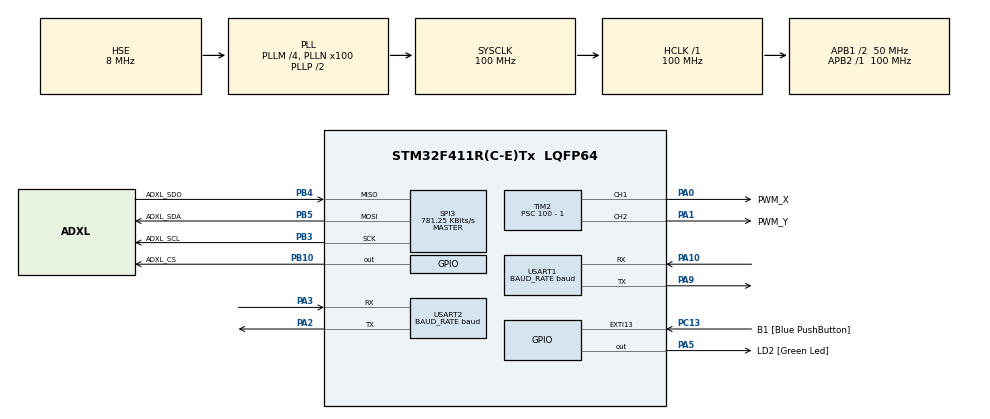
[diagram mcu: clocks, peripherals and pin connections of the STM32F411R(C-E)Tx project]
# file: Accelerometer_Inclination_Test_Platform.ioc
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Mcu.Family=STM32F4
Mcu.Name=STM32F411R(C-E)Tx
Mcu.Package=LQFP64
Mcu.UserConstants=BAUD_RATE,38400
NVIC.PriorityGroup=NVIC_PRIORITYGROUP_0
NVIC.USART1_IRQn=true\:0\:0\:false\:false\:true\:true\:true\:true
NVIC.USART2_IRQn=true\:0\:0\:false\:false\:true\:true\:true\:true
PA0-WKUP.GPIO_Label=PWM_X
PA0-WKUP.Signal=S_TIM2_CH1_ETR
PA1.GPIO_Label=PWM_Y
PA1.Signal=S_TIM2_CH2
PA10.Mode=Asynchronous
PA10.Signal=USART1_RX
PA13.GPIO_Label=TMS
PA13.Mode=Serial_Wire
PA13.Signal=SYS_JTMS-SWDIO
PA14.GPIO_Label=TCK
PA14.Mode=Serial_Wire
PA14.Signal=SYS_JTCK-SWCLK
PA2.Mode=Asynchronous
PA2.Signal=USART2_TX
PA3.Mode=Asynchronous
PA3.Signal=USART2_RX
PA5.GPIO_Label=LD2 [Green Led]
PA5.Signal=GPIO_Output
PA9.Mode=Asynchronous
PA9.Signal=USART1_TX
PB10.GPIO_Label=ADXL_CS
PB10.Signal=GPIO_Output
PB3.GPIO_Label=ADXL_SCL
PB3.Mode=Full_Duplex_Master
PB3.Signal=SPI3_SCK
PB4.GPIO_Label=ADXL_SDO
PB4.Mode=Full_Duplex_Master
PB4.Signal=SPI3_MISO
PB5.GPIO_Label=ADXL_SDA
PB5.Mode=Full_Duplex_Master
PB5.Signal=SPI3_MOSI
PC13-ANTI_TAMP.GPIO_Label=B1 [Blue PushButton]
PC13-ANTI_TAMP.GPIO_ModeDefaultEXTI=GPIO_MODE_IT_FALLING
PC13-ANTI_TAMP.Signal=GPXTI13
PC14-OSC32_IN.Mode=LSE-External-Oscillator
PC14-OSC32_IN.Signal=RCC_OSC32_IN
PC15-OSC32_OUT.Mode=LSE-External-Oscillator
PC15-OSC32_OUT.Signal=RCC_OSC32_OUT
PH0\ -\ OSC_IN.Mode=HSE-External-Clock-Source
PH0\ -\ OSC_IN.Signal=RCC_OSC_IN
PH1\ -\ OSC_OUT.Mode=HSE-External-Clock-Source
PH1\ -\ OSC_OUT.Signal=RCC_OSC_OUT
ProjectManager.HeapSize=0x200
ProjectManager.StackSize=0x400
ProjectManager.TargetToolchain=STM32CubeIDE
RCC.48MHZClocksFreq_Value=50000000
RCC.AHBFreq_Value=100000000
RCC.APB1CLKDivider=RCC_HCLK_DIV2
RCC.APB1Freq_Value=50000000
RCC.APB1TimFreq_Value=100000000
RCC.APB2Freq_Value=100000000
RCC.APB2TimFreq_Value=100000000
RCC.CortexFreq_Value=100000000
RCC.FLatency-AdvancedSettings=FLASH_LATENCY_3
RCC.HCLKFreq_Value=100000000
RCC.HSE_VALUE=8000000
RCC.HSI_VALUE=16000000
RCC.PLLM=4
RCC.PLLN=100
RCC.PLLSourceVirtual=RCC_PLLSOURCE_HSE
RCC.SYSCLKFreq_VALUE=100000000
RCC.SYSCLKSource=RCC_SYSCLKSOURCE_PLLCLK
RCC.VCOOutputFreq_Value=200000000
SH.S_TIM2_CH1_ETR.0=TIM2_CH1,PWM Generation1 CH1
SH.S_TIM2_CH2.0=TIM2_CH2,PWM Generation2 CH2
SPI3.BaudRatePrescaler=SPI_BAUDRATEPRESCALER_64
SPI3.CLKPhase=SPI_PHASE_2EDGE
SPI3.CLKPolarity=SPI_POLARITY_HIGH
SPI3.CalculateBaudRate=781.25 KBits/s
SPI3.Direction=SPI_DIRECTION_2LINES
SPI3.Mode=SPI_MODE_MASTER
SPI3.VirtualType=VM_MASTER
TIM2.AutoReloadPreload=TIM_AUTORELOAD_PRELOAD_ENABLE
TIM2.Channel-PWM\ Generation1\ CH1=TIM_CHANNEL_1
TIM2.Channel-PWM\ Generation2\ CH2=TIM_CHANNEL_2
TIM2.Period=20000 - 1
TIM2.Prescaler=100 - 1
USART1.BaudRate=BAUD_RATE
USART1.VirtualMode=VM_ASYNC
USART2.BaudRate=BAUD_RATE
USART2.VirtualMode=VM_ASYNC
VP_TIM2_VS_ClockSourceINT.Mode=Internal
board=NUCLEO-F411RE

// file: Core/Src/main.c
/* USER CODE BEGIN Header */
/**
 ******************************************************************************
 * @file           : main.c
 * @brief          : Main program body
 ******************************************************************************
 * @attention
 *
 * Copyright (c) 2024 STMicroelectronics.
 * All rights reserved.
 *
 * This software is licensed under terms that can be found in the LICENSE file
 * in the root directory of this software component.
 * If no LICENSE file comes with this software, it is provided AS-IS.
 *
 ******************************************************************************
 */
/* USER CODE END Header */
#include "main.h"

/* USER CODE BEGIN Includes */

//* Private Includes
#include "main.h"

//* Standard Includes
#include "stm32f4xx_hal.h"
#include <stdio.h>
#include <stdlib.h>
#include <stdint.h>
#include <ctype.h>
#include <string.h>
#include <math.h>

/* USER CODE END Includes */

/* USER CODE BEGIN PTD */

typedef uint16_t ccr_t; // Typedef set to fit CCR register value >= 0 and <= 20000

typedef enum {
  STARTUP_STATE,
  HOME_STATE,
  IDLE_STATE,
  RUN_SETPOINT_STATE,
  RUN_PROFILE_STATE,
  RUN_TEST_STATE,
} system_state_t;

typedef struct {
  status_code_t status;
  input_t code;
  input_t args[INSTRUCTION_MAX_ARGS];
  input_t arg_count;
} instruction_t;

typedef struct setpoint {
  input_t x; // X position in degrees
  input_t y; // Y position in degrees
  input_t speed; // Multiplier for the PID controller’s Proportional constant
} setpoint_t;

// Run state handler struct
typedef struct active_setpoint {
  ccr_t x;
  ccr_t y;
  input_t speed;
  int error;
  input_t profile;
  input_t index;
} active_setpoint_t;

/* USER CODE END PTD */

SPI_HandleTypeDef hspi3;

TIM_HandleTypeDef htim2;

UART_HandleTypeDef huart1;
UART_HandleTypeDef huart2;

/* USER CODE BEGIN PV */

//* Accelerometer Read

uint8_t adxl_rx_buf[ADXL_DATA_SIZE]; // The 6 bytes of ADXL data are stored here
float x_g, y_g, z_g;
float adxl_x_ang, adxl_y_ang, z_ang;

//* UART

char uart_rx_char[2]; // Stores Rx char and string terminator
char uart_circ_buf[UART_RX_BUF_LEN]; // Circular Rx Buffer
uint8_t instruction_flag = 0;
status_code_t uart_it_status = STATUS_OK;

//* Run State

active_setpoint_t active_setpoint = {
  .index = 0,
};

//* Startup State

system_state_t next_state_e = STARTUP_STATE;

/* USER CODE END PV */

void SystemClock_Config(void);
static void MX_GPIO_Init(void);
static void MX_USART2_UART_Init(void);
static void MX_SPI3_Init(void);
static void MX_USART1_UART_Init(void);
static void MX_TIM2_Init(void);
/* USER CODE BEGIN PFP */

//* Private Function Prototypes

int strtoint(char* str);
instruction_t parse_instruction(char* parse_buf);
void uart_echo(char* tx_buf, const char* rx_buf, const int status);
status_code_t clear_flash(void);
void adxl_tx(uint8_t address, uint8_t value);
void adxl_rx(uint8_t address);
void adxl_init(void);
void adxl_read(void);

//* Private Event Handler Prototypes

void idle_state_handler(void);
system_state_t startup_state_handler(void);
system_state_t home_state_handler(void);
system_state_t run_setpoint_state_handler(void);
system_state_t run_profile_state_handler(void);
system_state_t run_test_state_handler(void);

/* USER CODE END PFP */

/* USER CODE BEGIN 0 */

//* Interrupt Callbacks

void HAL_UART_RxCpltCallback(UART_HandleTypeDef *huart) {
  static int i = 0;
  if (instruction_flag == 0) {
    uart_circ_buf[i] = uart_rx_char[0];
    if (uart_circ_buf[i] == '}') {
      instruction_flag = 1;
      i = 0;
    } else if (++i >= (sizeof(uart_circ_buf) - 1)) { // - 1 for NULL terminator
      i = 0;
      uart_it_status = STATUS_ERR_UART_OF; // Buffer Overflow
    }
  }

  idle_state_handler();

  // UART Interrupt Rx Reactivate
  HAL_UART_Receive_IT(huart, (uint8_t *)uart_rx_char, 1U); // Receive single char
}

//* Internal Functions
ccr_t degtoccr(input_t angle) {
  return (ccr_t)(PULSE_WIDTH_NEG_90 + (((int)angle - ANGLE_MIN) * (PULSE_WIDTH_POS_90 - PULSE_WIDTH_NEG_90) / ANGLE_RANGE));
}

int strtoint(char* str) {
  int num = 0;
  if (str != NULL) {
    while (*str != '\0') { // Terminates at NULL character
      if (*str >= '0' && *str <= '9') {
        num = num * 10U + (*str - '0'); // String (base 10) to int
      } else {
        return -1; // NaN
      }
      str++;
    }
  } else {
    return -1; // NULL
  }
  return num;
}

instruction_t parse_instruction(char* parse_buf) {
  instruction_t instruction = {
    .status = STATUS_OK,
    .code = RESERVED,
    .arg_count = 0U,
  };
  char* indicator_p;
  char* terminator_p;
  char* digit_token_p;
  int num;

  // Find start and end characters
  indicator_p = strchr(parse_buf, '{');
  if (!indicator_p) {
    instruction.status = STATUS_ERR_NO_INDICATOR;
    return instruction;
  }
  terminator_p = strchr(parse_buf, '}');
  if (!terminator_p) {
    instruction.status = STATUS_ERR_NO_TERMINATOR;
    return instruction;
  }
  ++indicator_p; // Increment past the start indicator '{'

  // Parse instruction code
  digit_token_p = strtok(indicator_p, "|}"); // Isolate digits by tokenizing the string between '{' and '}'
  num = strtoint(digit_token_p);
  if (num < 0) {
    instruction.status = STATUS_ERR_INVALID_INSTRUCTION;
    return instruction;
  }
  if (num > INPUT_T_MAX) {
    instruction.status = STATUS_ERR_INSTRUCTION_OUT_OF_RANGE;
    return instruction;
  }
  instruction.code = num;

  // Parse arguments
  while ((digit_token_p = strtok(NULL, " }")) != NULL) {
    if (*digit_token_p == '{') {
      instruction.status = STATUS_ERR_TOO_MANY_INSTRUCTIONS;
      return instruction;
    }
    num = strtoint(digit_token_p);
    if (num < 0) {
      instruction.status = STATUS_ERR_INVALID_ARG;
      return instruction;
    }
    if (num > INPUT_T_MAX) {
      instruction.status = STATUS_ERR_ARG_OUT_OF_RANGE;
      return instruction;
    }
    if (instruction.arg_count >= INSTRUCTION_MAX_ARGS) {
      instruction.status = STATUS_ERR_TOO_MANY_ARGS;
      return instruction;
    }
    instruction.args[instruction.arg_count++] = num;
  }

  return instruction;
}

void uart_echo(char* tx_buf, const char* rx_buf, const int status) {
  sprintf(tx_buf, "[%02u]%s\r\n", (status % 100), rx_buf); // Modulo truncates to 2 digits
  HAL_UART_Transmit(HUART_PTR, (uint8_t*)tx_buf, strlen(tx_buf), UART_TX_TIMEOUT);
}

status_code_t clear_flash(void) {
  // Unlock flash memory to enable writing
  HAL_FLASH_Unlock();

  // Erase flash memory by sector
  FLASH_EraseInitTypeDef flash_erase_setup = {
    .TypeErase = FLASH_TYPEERASE_SECTORS,
    .Sector = FLASH_SECTOR_NUMBER,
    .NbSectors = 1U,
    .VoltageRange = FLASH_VOLTAGE_RANGE_3,
  };
  uint32_t sector_error = 0;
  if (HAL_FLASHEx_Erase(&flash_erase_setup, &sector_error) != HAL_OK) {
    return STATUS_ERR_FLASH_WRITE_FAILED;
  }

  // Lock flash memory after writing
  HAL_FLASH_Lock();

  return STATUS_OK;
}

void adxl_tx(uint8_t address, uint8_t value) {
  uint8_t data[2];
  data[0] = address | BIT_6_MASK;  // Multibyte write enabled
  data[1] = value;
  HAL_GPIO_WritePin(ADXL_CS_GPIO_Port, ADXL_CS_Pin, GPIO_PIN_RESET); // Pull the cs pin low to enable the slave
  HAL_SPI_Transmit(&hspi3, data, sizeof(data), ADXL_TIMEOUT); // Transmit the address and data
  HAL_GPIO_WritePin(ADXL_CS_GPIO_Port, ADXL_CS_Pin, GPIO_PIN_SET); // Pull the cs pin high to disable the slave
}

void adxl_rx(uint8_t address) {
  address |= BIT_7_MASK;  // Read operation
  address |= BIT_6_MASK;  // Multibyte read
  HAL_GPIO_WritePin(ADXL_CS_GPIO_Port, ADXL_CS_Pin, GPIO_PIN_RESET);  // Pull the cs pin low to enable the slave
  HAL_SPI_Transmit(&hspi3, &address, ADXL_ADDRESS_SIZE, ADXL_TIMEOUT);  // Send single-byte address from where you want to read data
  HAL_SPI_Receive(&hspi3, adxl_rx_buf, ADXL_DATA_SIZE, ADXL_TIMEOUT);  // Read the 6 bytes of data
  HAL_GPIO_WritePin(ADXL_CS_GPIO_Port, ADXL_CS_Pin, GPIO_PIN_SET);  // Pull the cs pin high to disable the slave
}

void adxl_init(void) {
  HAL_Delay(STARTUP_DELAY);
  adxl_tx(ADXL_REG_DATA_FORMAT, BIT_0_MASK);  // Data format range = +/- 4g
  adxl_tx(ADXL_REG_POWER_CTL, BIT_RESET_MASK);  // Reset all bits
  adxl_tx(ADXL_REG_POWER_CTL, BIT_3_MASK);  // Set power control mode to measure
  adxl_rx(ADXL_REG_DEVID); // Stores the SPI Device ID in adxl_rx_buf
}

void adxl_read(void) {
  adxl_rx(ADXL_REG_DATAX0); // Request data starting from the first data register
  // Convert the accelerometer values to 16-bit signed integers
  int16_t x_raw = (int16_t)((adxl_rx_buf[1] << 8) | adxl_rx_buf[0]);
  int16_t y_raw = (int16_t)((adxl_rx_buf[3] << 8) | adxl_rx_buf[2]);
  int16_t z_raw = (int16_t)((adxl_rx_buf[5] << 8) | adxl_rx_buf[4]);

  // Convert raw values to g's
  x_g = x_raw * ADXL_SCALE_FACTOR;
  y_g = y_raw * ADXL_SCALE_FACTOR;
  z_g = z_raw * ADXL_SCALE_FACTOR;

  adxl_x_ang = atan2f(-y_g, sqrtf(x_g * x_g + z_g * z_g));
  adxl_y_ang = atan2f(-x_g, sqrtf(y_g * y_g + z_g * z_g));
  // z_ang = atan2f(sqrtf(x_g * x_g + y_g * y_g), z_g);

  adxl_x_ang = adxl_x_ang * (180.0f / M_PI) + 90U;
  adxl_y_ang = adxl_y_ang * (180.0f / M_PI) + 90U;
  // z_ang = z_ang * (180.0f / M_PI);
}

//* Instruction Functions

status_code_t move(input_t x, input_t y, input_t speed) {
  // Check argument range
  if ((x < ANGLE_INPUT_MIN || x > ANGLE_INPUT_MAX) ||
      (y < ANGLE_INPUT_MIN || y > ANGLE_INPUT_MAX) ||
      (speed < SPEED_MIN || speed > SPEED_MAX)) {
      return STATUS_ERR_ARG_OUT_OF_RANGE; // Return error if any argument is out of range
  }

  active_setpoint.x = degtoccr(x) + PULSE_WIDTH_OFFSET_X;
  active_setpoint.y = degtoccr(y) + PULSE_WIDTH_OFFSET_Y;
  active_setpoint.speed = speed;

  next_state_e = RUN_SETPOINT_STATE;
  return STATUS_OK;
}

status_code_t stop(void) {
  next_state_e = IDLE_STATE; // Escape RUN_STATE

  // Stop pwm signals to stop platforms/servos
  HAL_TIM_PWM_Stop(&htim2, TIM_CHANNEL_1);
  HAL_TIM_PWM_Stop(&htim2, TIM_CHANNEL_2);

  return STATUS_OK;
}

status_code_t cancel(void) {
  active_setpoint.index = 0;
  next_state_e = HOME_STATE; // Escape RUN_STATE
  return STATUS_OK;
}

status_code_t run_setpoint(input_t index, input_t profile) {
  // Check argument range
  if (profile < PROFILE_ARG_MIN || profile > PROFILE_ARG_MAX) {
    return STATUS_ERR_ARG_OUT_OF_RANGE;
  }
  // Get setpoint pointer from index and profile arguments
  setpoint_t* setpoint = SETPOINT_ADDRESS(index, profile);

  // Check if requested setpoint contains data
  if (setpoint->x == FLASH_EMPTY && setpoint->y == FLASH_EMPTY && setpoint->speed == FLASH_EMPTY) {
    return STATUS_ERR_EMPTY_SETPOINT;
  }

  // Initialize setpoint for run state
  active_setpoint.x = degtoccr(setpoint->x) + PULSE_WIDTH_OFFSET_X;
  active_setpoint.y = degtoccr(setpoint->y) + PULSE_WIDTH_OFFSET_Y;
  active_setpoint.speed = setpoint->speed;

  next_state_e = RUN_SETPOINT_STATE;
  return STATUS_OK;
}

status_code_t run_profile(input_t profile) {
  // Check argument range
  if (profile < PROFILE_ARG_MIN || profile > PROFILE_ARG_MAX) {
    return STATUS_ERR_ARG_OUT_OF_RANGE;
  }
  // Get setpoint pointer from index and profile arguments
  setpoint_t* setpoint = PROFILE_ADDRESS(profile);

  // Check if requested setpoint contains data
  if (setpoint->x == FLASH_EMPTY && setpoint->y == FLASH_EMPTY && setpoint->speed == FLASH_EMPTY) {
    return STATUS_ERR_EMPTY_SETPOINT;
  }

  // Initialize setpoint for run state
  active_setpoint.profile = profile;

  next_state_e = RUN_PROFILE_STATE;
  return STATUS_OK;
}

status_code_t get_setpoint(input_t index, input_t profile) {
  // Check argument range
  if (profile < PROFILE_ARG_MIN || profile > PROFILE_ARG_MAX) {
    return STATUS_ERR_ARG_OUT_OF_RANGE;
  }
  // Get setpoint pointer from index and profile arguments
  setpoint_t* setpoint = SETPOINT_ADDRESS(index, profile);

  // Check if requested setpoint contains data
  if (setpoint->x == FLASH_EMPTY && setpoint->y == FLASH_EMPTY && setpoint->speed == FLASH_EMPTY) {
    return STATUS_ERR_EMPTY_SETPOINT;
  }

  // Transmit setpoint data
  char uart_tx_buf[UART_TX_BUF_LEN];
  sprintf(uart_tx_buf, "{%03u %03u %03u}\r\n", (setpoint->x % 1000), (setpoint->y % 1000), (setpoint->speed % 1000));
  HAL_UART_Transmit(HUART_PTR, (uint8_t*)uart_tx_buf, strlen(uart_tx_buf), UART_TX_TIMEOUT);

  return STATUS_OK;
}

status_code_t add_setpoint(input_t x, input_t y, input_t speed, input_t profile) {
  // Check argument range
  if ((profile < PROFILE_ARG_MIN || profile > PROFILE_ARG_MAX) ||
      (x < ANGLE_INPUT_MIN || x > ANGLE_INPUT_MAX) ||
      (y < ANGLE_INPUT_MIN || y > ANGLE_INPUT_MAX) ||
      (speed < SPEED_MIN || speed > SPEED_MAX)) {
      return STATUS_ERR_ARG_OUT_OF_RANGE; // Return error if any argument is out of range
  }
  // Get address and index of last setpoint
  setpoint_t* setpoint = PROFILE_ADDRESS(profile);
  input_t index = 0;
  while(index <= INPUT_T_MAX) {
    if (setpoint->x == FLASH_EMPTY && setpoint->y == FLASH_EMPTY && setpoint->speed == FLASH_EMPTY) {
      break;
    }
    if (index == INPUT_T_MAX) {
      return STATUS_ERR_PROFILE_FULL;
    }
    ++setpoint;
    ++index;
  }

  // Unlock flash memory to enable writing
  HAL_FLASH_Unlock();

  // Write the array to flash memory
  if (HAL_FLASH_Program(FLASH_TYPEPROGRAM_HALFWORD, (uint32_t)(&(setpoint->x)), x) != HAL_OK ||
      HAL_FLASH_Program(FLASH_TYPEPROGRAM_HALFWORD, (uint32_t)(&(setpoint->y)), y) != HAL_OK ||
      HAL_FLASH_Program(FLASH_TYPEPROGRAM_HALFWORD, (uint32_t)(&(setpoint->speed)), speed) != HAL_OK) {
    HAL_FLASH_Lock();
    return STATUS_ERR_FLASH_WRITE_FAILED;
  }

  // Lock flash memory after writing
  HAL_FLASH_Lock();

  return STATUS_OK;
}

status_code_t remove_setpoint(input_t index, input_t profile) {
  // Check argument range
  if (profile < PROFILE_ARG_MIN || profile > PROFILE_ARG_MAX) {
    return STATUS_ERR_ARG_OUT_OF_RANGE;
    }
  // Check if requested setpoint contains data
  setpoint_t* given_setpoint = SETPOINT_ADDRESS(index, profile);
  if (given_setpoint->x == FLASH_EMPTY && given_setpoint->y == FLASH_EMPTY && given_setpoint->speed == FLASH_EMPTY){
    return STATUS_ERR_EMPTY_SETPOINT;
  }

  // Get setpoint pointer from index and profile arguments
  setpoint_t* flash_setpoints = PROFILE_ADDRESS(profile);

  // Copy the kept setpoints to RAM
  setpoint_t kept_setpoints[PROFILE_LEN];
  input_t new_index = 0;

  // Copy all setpoints excluding the specified index
  for (input_t i = 0; i < PROFILE_LEN; i++) {
    if (i != index) {
      kept_setpoints[new_index++] = flash_setpoints[i];
    }
  }

  // Clear old setpoints from flash
  clear_profile(profile);

  // Unlock flash to begin writing
  HAL_FLASH_Unlock();

  // Write back all setpoints into flash except for the specified index
  for (input_t i = 0; i < new_index; i++) {
    if (HAL_FLASH_Program(FLASH_TYPEPROGRAM_HALFWORD, (uint32_t)(&(flash_setpoints[i].x)), kept_setpoints[i].x) != HAL_OK ||
        HAL_FLASH_Program(FLASH_TYPEPROGRAM_HALFWORD, (uint32_t)(&(flash_setpoints[i].y)), kept_setpoints[i].y) != HAL_OK ||
        HAL_FLASH_Program(FLASH_TYPEPROGRAM_HALFWORD, (uint32_t)(&(flash_setpoints[i].speed)), kept_setpoints[i].speed) != HAL_OK) {
      // Lock flash memory after writing
      HAL_FLASH_Lock();
      return STATUS_ERR_FLASH_WRITE_FAILED;
    }
  }

  // Lock flash memory after writing
  HAL_FLASH_Lock();

  return STATUS_OK;
}

status_code_t get_profile(input_t profile) {
  // Check argument range
  if (profile < PROFILE_ARG_MIN || profile > PROFILE_ARG_MAX) {
    return STATUS_ERR_ARG_OUT_OF_RANGE; // Return an error code for invalid profile
  }

  // Get setpoint pointer from index and profile arguments
  setpoint_t* setpoint = PROFILE_ADDRESS(profile);

  // Check if requested profile contains data
  if (PROFILE_ADDRESS(profile)->x == FLASH_EMPTY && PROFILE_ADDRESS(profile)->y == FLASH_EMPTY && PROFILE_ADDRESS(profile)->speed == FLASH_EMPTY){
    return STATUS_ERR_EMPTY_PROFILE;
  }

  input_t index = 0;
  char uart_tx_buf[UART_TX_BUF_LEN];
  // Transmit start indicator and first setpoint index
  sprintf(uart_tx_buf, "{000");
  HAL_UART_Transmit(HUART_PTR, (uint8_t*)uart_tx_buf, strlen(uart_tx_buf), UART_TX_TIMEOUT);
  while(index <= INPUT_T_MAX) {
    // Stop when next setpoint is empty or when limit is reached
    if (setpoint->x == FLASH_EMPTY && setpoint->y == FLASH_EMPTY && setpoint->speed == FLASH_EMPTY) {
      break;
    }
    if (index == INPUT_T_MAX) {
      break;
    }

    // Create new packet every 10 setpoints
    if (index > 0 && (index % 10U) == 0) {
      sprintf(uart_tx_buf, "}\r\n{%03u", (index % 1000U));
      HAL_UART_Transmit(HUART_PTR, (uint8_t*)uart_tx_buf, strlen(uart_tx_buf), UART_TX_TIMEOUT);
    }

    // Transmit setpoint data
    sprintf(uart_tx_buf, "|%03u %03u %03u", (setpoint->x % 1000U), (setpoint->y % 1000U), (setpoint->speed % 1000U));
    HAL_UART_Transmit(HUART_PTR, (uint8_t*)uart_tx_buf, strlen(uart_tx_buf), UART_TX_TIMEOUT);

    // Increment setpoint and index
    ++setpoint;
    ++index;
  }
  // Transmit terminator
  sprintf(uart_tx_buf, "}\r\n");
  HAL_UART_Transmit(HUART_PTR, (uint8_t*)uart_tx_buf, strlen(uart_tx_buf), UART_TX_TIMEOUT);

  return STATUS_OK;
}

status_code_t clear_profile(input_t profile) {
  // Check argument range
  if (profile < PROFILE_ARG_MIN || profile > PROFILE_ARG_MAX) {
    return  STATUS_ERR_ARG_OUT_OF_RANGE; // Return an error code for invalid profile
  }
  // Get setpoint pointer from profile argument
  setpoint_t* flash_setpoints = PROFILE_ADDRESS(0U);

  // Check if requested profile contains data
  if (PROFILE_ADDRESS(profile)->x == FLASH_EMPTY && PROFILE_ADDRESS(profile)->y == FLASH_EMPTY && PROFILE_ADDRESS(profile)->speed == FLASH_EMPTY){
    return STATUS_ERR_EMPTY_PROFILE;
  }

  // Copy the setpoints from all the kept profiles to RAM
  setpoint_t kept_setpoints[TOTAL_SETPOINTS];
  memset(kept_setpoints, FLASH_EMPTY, sizeof(kept_setpoints));
  for (input_t i = 0; i < TOTAL_SETPOINTS; i += PROFILE_LEN) {
    // Copy all setpoints excluding the specified index
    if (i >= (PROFILE_LEN * profile) && i < (PROFILE_LEN * (profile + 1))) {
      continue;
    }
    memcpy(&kept_setpoints[i], &flash_setpoints[i], (PROFILE_LEN * sizeof(setpoint_t)));
  }

  // Clear all profiles from flash. Note:
  // STM32 flash can only be erased sector-by-sector which is why the specified profile can't be individually cleared.
  if (clear_flash() != STATUS_OK) {
    return STATUS_ERR_FLASH_WRITE_FAILED;
  }

  // Unlock flash to begin writing
  HAL_FLASH_Unlock();

  // Write back all profiles into flash except for the specified profile
  for (uint16_t i = 0; i < TOTAL_SETPOINTS; ++i) {
    if (kept_setpoints[i].x != FLASH_EMPTY && kept_setpoints[i].y != FLASH_EMPTY && kept_setpoints[i].speed != FLASH_EMPTY) {
      if (HAL_FLASH_Program(FLASH_TYPEPROGRAM_HALFWORD, (uint32_t)(&(flash_setpoints[i].x)), kept_setpoints[i].x) != HAL_OK ||
          HAL_FLASH_Program(FLASH_TYPEPROGRAM_HALFWORD, (uint32_t)(&(flash_setpoints[i].y)), kept_setpoints[i].y) != HAL_OK ||
          HAL_FLASH_Program(FLASH_TYPEPROGRAM_HALFWORD, (uint32_t)(&(flash_setpoints[i].speed)), kept_setpoints[i].speed) != HAL_OK) {
        // Lock flash memory after writing
        HAL_FLASH_Lock();
        return STATUS_ERR_FLASH_WRITE_FAILED;
      }
    }
  }

  // Lock flash memory after writing
  HAL_FLASH_Lock();

  return STATUS_OK;
}

status_code_t test_servos(void) {
  active_setpoint.profile = TEST_PROFILE;
  active_setpoint.index = 0;
  next_state_e = RUN_TEST_STATE;
  return STATUS_OK;
}

status_code_t test_adxl(void) {
  adxl_read();
  uint8_t test_msg[UART_TX_BUF_LEN];
  sprintf((char*)test_msg, "{%03u %03u}\n", (uint8_t)(adxl_x_ang), (uint8_t)(adxl_y_ang));
  HAL_UART_Transmit(HUART_PTR, test_msg, strlen((char*)test_msg), UART_TX_TIMEOUT);

  return STATUS_OK;
}

status_code_t test_flash(void) {
  status_code_t status;
  for (uint8_t i = 0; i < PROFILE_ARG_MAX; i++) {
    (void)clear_profile(i);
  }

  for (input_t profile = 0; profile < PROFILE_ARG_MAX; profile++) {

    uint16_t arg1 = profile; // Set the first argument as the profile index + 1
    uint16_t arg2 = profile; // Set the second argument as the profile index + 1

    // Populate setpoints for each profile
    for (uint16_t data = 0; data < 300U; data += 1) {
      status = add_setpoint(arg1, arg2, 1, profile); // Add the specific setpoint for this profile
      if (status != STATUS_OK) {
        return status; // Stop if an error occurs while adding setpoints
      }
    }

    status = get_profile(profile);
    if (status != STATUS_OK) {
      return status;
    }
  }

  return STATUS_OK;
}

status_code_t test_led(void) {
  HAL_GPIO_TogglePin(LD2_GPIO_Port, LD2_Pin);

  return STATUS_OK;
}

//* Event Handlers

/**
 * @defgroup StateHandler State Handlers
 * Functions for testing the system components such as servos, sensors, etc.
 * @{
 */

 /**
 * @brief Handles the startup of the system, initializing hardware peripherals and configuring settings.
 *
 * @ingroup StateHanlder
 * This function performs the necessary steps to initialize the system's peripherals and set the initial state. The steps include:
 * - Configuring PWM for motors (with specified frequency and pulse width).
 * - Starting the PWM signals for motor control.
 * - Setting initial positions for the motors by calling the `move` function.
 * - Starting the timer interrupt for servo control.
 * - Initializing the accelerometer for motion sensing.
 * - Configuring the UART to receive data via interrupts.
 * - Transmitting a startup message code over UART to indicate the device is ready.
 *
 * @return system_state_t
 *         - IDLE_STATE: The system transitions to the idle state after the startup operations are completed.
 */
system_state_t startup_state_handler(void) {
  //* PWM
  // Internal Clock (HCLK) = 100 MHz. If Prescaler = (100 - 1) & Max Timer Count = (20000 - 1),
  // then f = 100 MHz / 100 = 1 MHz, T = 1 us, and PWM f = 1/(20000 * T) = 50 Hz
  CCR_X = PULSE_WIDTH_0 + PULSE_WIDTH_OFFSET_X;
  CCR_Y = PULSE_WIDTH_0 + PULSE_WIDTH_OFFSET_Y;

  HAL_TIM_PWM_Start(&htim2, TIM_CHANNEL_1);
  HAL_TIM_PWM_Start(&htim2, TIM_CHANNEL_2);
  move(90, 90, 1);

  //* Accelerometer
  adxl_init();

  //* UART
  // Rx Interrupt Setup
  HAL_UART_Receive_IT(HUART_PTR, (uint8_t *)uart_rx_char, 1U); // Receive single char

  // Startup Message
  uint8_t startup_msg[] = "[00]{0}\n"; // STATUS_OK / Device is ready
  HAL_UART_Transmit(HUART_PTR, startup_msg, strlen((char*)startup_msg), UART_TX_TIMEOUT);

  return IDLE_STATE;
}

/**
 * @brief Home position state intended to reset the position of the device upon reset. It is required
 * for cancel() to function properly.
 *
 * @return system_state_t
 */
system_state_t home_state_handler(void) {
  return IDLE_STATE;
}

/**
 * @brief This handler function is called for every character captured by the UART Rx interrupt.
 * This allows for execution of the stop() and cancel() commands at any time or the execution of
 * setpoint commands while the device is in the IDLE_STATE.
 *
 * @ingroup StateHanlder
 * In the idle state, the system waits for a UART instruction to be received. Once the instruction is received
 * and parsed, it is executed based on the command. The handler supports a wide range of instructions,
 * including movement, stop, cancel, and testing commands. It also handles argument validation and echoes
 * the status of the executed instruction back via UART.
 *
 * The instructions handled by this handler include:
 * - MOVE_INSTRUCTION: Moves the system with specified arguments.
 * - STOP_INSTRUCTION: Stops the system's current operation (system reboot needed to resume operations)
 * - CANCEL_INSTRUCTION: Cancels the current operation.
 * - RUN_SETPOINT_INSTRUCTION: Runs a specified setpoint.
 * - RUN_PROFILE_INSTRUCTION: Runs a profile of setpoints.
 * - GET_SETPOINT_INSTRUCTION: Retrieves a setpoint.
 * - ADD_SETPOINT_INSTRUCTION: Adds a new setpoint.
 * - REMOVE_SETPOINT_INSTRUCTION: Removes an existing setpoint.
 * - GET_PROFILE_INSTRUCTION: Retrieves a profile.
 * - CLEAR_PROFILE_INSTRUCTION: Clears a profile from memory.
 * - TEST_SERVOS_INSTRUCTION: Tests the servo motors.
 * - TEST_ADXL_INSTRUCTION: Tests the accelerometer (ADXL).
 * - TEST_FLASH_INSTRUCTION: Tests the flash memory.
 * - TEST_LED_INSTRUCTION: Toggles an LED for testing.
 * - TEST_ECHO_INSTRUCTION: Echoes the received instruction back.
 *
 * Each instruction is validated for the correct number of arguments, and the corresponding action is performed.
 * If an invalid instruction or incorrect argument count is encountered, an error status is echoed back.
 *
 * @return None
 */
void idle_state_handler(void) {
  static char uart_tx_buf[UART_TX_BUF_LEN];
  static char uart_rx_buf[UART_RX_BUF_LEN];

  //* Wait for UART instruction_flag to trigger via interrupt
  if (instruction_flag) {
    strcpy(uart_rx_buf, uart_circ_buf);

    if (uart_it_status != STATUS_OK) {

      // Echo received instruction with error status
      uart_echo(uart_tx_buf, uart_rx_buf, uart_it_status);
      uart_it_status = STATUS_OK;

    } else if (uart_it_status == STATUS_OK) {

      //* Parse received instruction
      // Copy UART buffer to prevent parse_instruction() from manipulating the original (due to strtok())
      char* parse_buf = calloc((strlen(uart_rx_buf) + 1U), sizeof(char)); // Allocate memory based on size of text in buffer
      strcpy(parse_buf, uart_rx_buf);

      instruction_t instruction = parse_instruction(parse_buf);
      free(parse_buf); // Free memory allocated by calloc()

      //* Echo received instruction with status if error occurred
      if (instruction.status != STATUS_OK) {
        uart_echo(uart_tx_buf, uart_rx_buf, instruction.status);
      } else {
        //* Instruction switch
        switch (instruction.code) {
        case MOVE_INSTRUCTION:
          if (instruction.arg_count != 3U) {
            instruction.status = STATUS_ERR_INVALID_ARG_COUNT;
            uart_echo(uart_tx_buf, uart_rx_buf, instruction.status);
            break;
          }
          instruction.status = move(instruction.args[0], instruction.args[1], instruction.args[2]);
          uart_echo(uart_tx_buf, uart_rx_buf, instruction.status);
          break;
        case STOP_INSTRUCTION:
          if (instruction.arg_count != 0U) {
            instruction.status = STATUS_ERR_INVALID_ARG_COUNT;
            uart_echo(uart_tx_buf, uart_rx_buf, instruction.status);
            break;
          }
          instruction.status = stop();
          uart_echo(uart_tx_buf, uart_rx_buf, instruction.status);
          break;
        case CANCEL_INSTRUCTION:
          if (instruction.arg_count != 0U) {
            instruction.status = STATUS_ERR_INVALID_ARG_COUNT;
            uart_echo(uart_tx_buf, uart_rx_buf, instruction.status);
            break;
          }
          instruction.status = cancel();
          uart_echo(uart_tx_buf, uart_rx_buf, instruction.status);
          break;
        case RUN_SETPOINT_INSTRUCTION:
          if (instruction.arg_count != 2U) {
            instruction.status = STATUS_ERR_INVALID_ARG_COUNT;
            uart_echo(uart_tx_buf, uart_rx_buf, instruction.status);
            break;
          }
          instruction.status = run_setpoint(instruction.args[0], instruction.args[1]);
          uart_echo(uart_tx_buf, uart_rx_buf, instruction.status);
          break;
        case RUN_PROFILE_INSTRUCTION:
          if (instruction.arg_count != 1U) {
            instruction.status = STATUS_ERR_INVALID_ARG_COUNT;
            uart_echo(uart_tx_buf, uart_rx_buf, instruction.status);
            break;
          }
          instruction.status = run_profile(instruction.args[0]);
          uart_echo(uart_tx_buf, uart_rx_buf, instruction.status);
          break;
        case GET_SETPOINT_INSTRUCTION:
          if (instruction.arg_count != 2U) {
            instruction.status = STATUS_ERR_INVALID_ARG_COUNT;
            uart_echo(uart_tx_buf, uart_rx_buf, instruction.status);
            break;
          }
          instruction.status = get_setpoint(instruction.args[0], instruction.args[1]);
          uart_echo(uart_tx_buf, uart_rx_buf, instruction.status);
          break;
        case ADD_SETPOINT_INSTRUCTION:
          if (instruction.arg_count != 4U) {
            instruction.status = STATUS_ERR_INVALID_ARG_COUNT;
            uart_echo(uart_tx_buf, uart_rx_buf, instruction.status);
            break;
          }
          instruction.status = add_setpoint(instruction.args[0], instruction.args[1], instruction.args[2], instruction.args[3]);
          uart_echo(uart_tx_buf, uart_rx_buf, instruction.status);
          break;
        case REMOVE_SETPOINT_INSTRUCTION:
          if (instruction.arg_count != 2U) {
            instruction.status = STATUS_ERR_INVALID_ARG_COUNT;
            uart_echo(uart_tx_buf, uart_rx_buf, instruction.status);
            break;
          }
          instruction.status = remove_setpoint(instruction.args[0], instruction.args[1]);
          uart_echo(uart_tx_buf, uart_rx_buf, instruction.status);
          break;
        case GET_PROFILE_INSTRUCTION:
          if (instruction.arg_count != 1U) {
            instruction.status = STATUS_ERR_INVALID_ARG_COUNT;
            uart_echo(uart_tx_buf, uart_rx_buf, instruction.status);
            break;
          }
          instruction.status = get_profile(instruction.args[0]);
          uart_echo(uart_tx_buf, uart_rx_buf, instruction.status);
          break;
        case CLEAR_PROFILE_INSTRUCTION:
          if (instruction.arg_count != 1U) {
            instruction.status = STATUS_ERR_INVALID_ARG_COUNT;
            uart_echo(uart_tx_buf, uart_rx_buf, instruction.status);
            break;
          }
          instruction.status = clear_profile(instruction.args[0]);
          uart_echo(uart_tx_buf, uart_rx_buf, instruction.status);
          break;
        case TEST_SERVOS_INSTRUCTION:
          if (instruction.arg_count != 0U) {
            instruction.status = STATUS_ERR_INVALID_ARG_COUNT;
            uart_echo(uart_tx_buf, uart_rx_buf, instruction.status);
            break;
          }
          instruction.status = test_servos();
          uart_echo(uart_tx_buf, uart_rx_buf, instruction.status);
          break;
        case TEST_ADXL_INSTRUCTION:
          if (instruction.arg_count != 0U) {
            instruction.status = STATUS_ERR_INVALID_ARG_COUNT;
            uart_echo(uart_tx_buf, uart_rx_buf, instruction.status);
            break;
          }
          instruction.status = test_adxl();
          uart_echo(uart_tx_buf, uart_rx_buf, instruction.status);
          break;
        case TEST_FLASH_INSTRUCTION:
          if (instruction.arg_count != 0U) {
            instruction.status = STATUS_ERR_INVALID_ARG_COUNT;
            uart_echo(uart_tx_buf, uart_rx_buf, instruction.status);
            break;
          }
          instruction.status = test_flash();
          uart_echo(uart_tx_buf, uart_rx_buf, instruction.status);
          break;
        case TEST_LED_INSTRUCTION:
          if (instruction.arg_count != 0U) {
            instruction.status = STATUS_ERR_INVALID_ARG_COUNT;
            uart_echo(uart_tx_buf, uart_rx_buf, instruction.status);
            break;
          }
          HAL_GPIO_TogglePin(LD2_GPIO_Port, LD2_Pin);
          uart_echo(uart_tx_buf, uart_rx_buf, instruction.status);
          break;
        case TEST_ECHO_INSTRUCTION:
          if (instruction.arg_count != 0U) {
            instruction.status = STATUS_ERR_INVALID_ARG_COUNT;
            uart_echo(uart_tx_buf, uart_rx_buf, instruction.status);
            break;
          }
          uart_echo(uart_tx_buf, uart_rx_buf, instruction.status);
          break;

        // Instruction not in list of instruction codes
        default:
          instruction.status = STATUS_ERR_INVALID_INSTRUCTION;
          uart_echo(uart_tx_buf, uart_rx_buf, instruction.status);
          break;
        }
      }
    }
    // Reset buffers and flags
    memset(uart_circ_buf, 0, sizeof(uart_circ_buf));
    memset(uart_tx_buf, 0, sizeof(uart_tx_buf));
    instruction_flag = 0;
  }
}

/**
 * @brief Handles the running of a setpoint.
 *
 * @ingroup StateHanlder
 * This function manages the movement of the system towards a setpoint defined by `active_setpoint.x`
 * and `active_setpoint.y`. It increments or decrements the pulse width values (`CCR_X` and `CCR_Y`)
 * in small steps, determined by the speed specified in `active_setpoint.speed`, until both the `CCR_X`
 * and `CCR_Y` values match the target setpoint values.
 *
 * The speed of the movement is inversely related to the `active_setpoint.speed` value, meaning a higher
 * speed value results in a faster movement, while a lower speed results in slower movement. The system
 * prevents overshooting the setpoint by adjusting the pulse width values to exactly match the target when
 * it gets close enough.
 *
 * Once both `CCR_X` and `CCR_Y` match the target setpoint values, the state transitions to `IDLE_STATE`.
 * Otherwise, the function continues to increment or decrement the pulse width values in the next cycle.
 *
 * @return The current state, which will be `RUN_SETPOINT_STATE` while the setpoint is being processed
 *         and `IDLE_STATE` once the setpoint is reached.
 */
system_state_t run_setpoint_state_handler(void) {
  if (CCR_X == active_setpoint.x && CCR_Y == active_setpoint.y) {
    return IDLE_STATE;
  }

  uint16_t step =  STEP_DELAY * (PULSE_WIDTH_POS_90 - PULSE_WIDTH_NEG_90) / (SPEED_MAX + 1U - active_setpoint.speed) / 1000;

  // Increment or decrement CCR_X towards active_setpoint.x
  if (CCR_X < active_setpoint.x) {
    CCR_X += step;
    if (CCR_X > active_setpoint.x) {
      CCR_X = active_setpoint.x; // Prevent overshooting
    }
  } else if (CCR_X > active_setpoint.x) {
    CCR_X -= step;
    if (CCR_X < active_setpoint.x) {
      CCR_X = active_setpoint.x; // Prevent overshooting
    }
  }

  // Increment or decrement CCR_Y towards active_setpoint.y
  if (CCR_Y < active_setpoint.y) {
    CCR_Y += step;
    if (CCR_Y > active_setpoint.y) {
      CCR_Y = active_setpoint.y; // Prevent overshooting
    }
  } else if (CCR_Y > active_setpoint.y) {
    CCR_Y -= step;
    if (CCR_Y < active_setpoint.y) {
      CCR_Y = active_setpoint.y; // Prevent overshooting
    }
  }

  HAL_Delay(STEP_DELAY);
  return RUN_SETPOINT_STATE;
}

/**
 * @brief Handles the running of a profile by iterating through setpoints.
 *
 * @ingroup StateHanlder
 * This handler processes the current setpoint from a specified profile and moves the system towards
 * the target setpoint values. The setpoint data is retrieved from flash memory, and the system adjusts
 * the pulse width values (`CCR_X` and `CCR_Y`) to match the setpoint's `x` and `y` values. The movement
 * speed is determined by the `setpoint.speed` value. Once a setpoint is reached, the function waits
 * (via PROFILE_WAIT) and proceeds to the next setpoint in the profile.
 *
 * If the requested setpoint contains invalid data (indicated by `FLASH_EMPTY` values), the function
 * returns to the idle state.
 *
 * The function continues running through the profile until all setpoints are processed, at which point
 * the state transitions to `IDLE_STATE`.
 *
 * @return The current state, which can be `RUN_PROFILE_STATE` if there are more setpoints to process,
 *         or `IDLE_STATE` when the profile has been fully processed or if no valid setpoints are found.
 */
system_state_t run_profile_state_handler(void) {
  HAL_Delay(STEP_DELAY);
  if (next_state_e == IDLE_STATE) {
    return IDLE_STATE;
  }

  // Get setpoint pointer from index and profile arguments
  setpoint_t* setpoint = SETPOINT_ADDRESS(active_setpoint.index, active_setpoint.profile);

  // Check if requested setpoint contains data
  if (setpoint->x == FLASH_EMPTY && setpoint->y == FLASH_EMPTY && setpoint->speed == FLASH_EMPTY) {
    active_setpoint.index = 0;
    return IDLE_STATE;
  }

  active_setpoint.x = degtoccr(setpoint->x) + PULSE_WIDTH_OFFSET_X;
  active_setpoint.y = degtoccr(setpoint->y) + PULSE_WIDTH_OFFSET_Y;
  active_setpoint.speed = setpoint->speed;

  uint16_t step =  STEP_DELAY * (PULSE_WIDTH_POS_90 - PULSE_WIDTH_NEG_90) / (SPEED_MAX + 1U - active_setpoint.speed) / 1000;

  // Increment or decrement CCR_X towards active_setpoint.x
  if (CCR_X < active_setpoint.x) {
    CCR_X += step;
    if (CCR_X > active_setpoint.x) {
      CCR_X = active_setpoint.x; // Prevent overshooting
    }
  } else if (CCR_X > active_setpoint.x) {
    CCR_X -= step;
    if (CCR_X < active_setpoint.x) {
      CCR_X = active_setpoint.x; // Prevent overshooting
    }
  }

  // Increment or decrement CCR_Y towards active_setpoint.y
  if (CCR_Y < active_setpoint.y) {
    CCR_Y += step;
    if (CCR_Y > active_setpoint.y) {
      CCR_Y = active_setpoint.y; // Prevent overshooting
    }
  } else if (CCR_Y > active_setpoint.y) {
    CCR_Y -= step;
    if (CCR_Y < active_setpoint.y) {
      CCR_Y = active_setpoint.y; // Prevent overshooting
    }
  }

  if (CCR_X == active_setpoint.x && CCR_Y == active_setpoint.y) {
    active_setpoint.index++;
    HAL_Delay(PROFILE_WAIT);
  }
  if (next_state_e == RUN_PROFILE_STATE) {
    return RUN_PROFILE_STATE;
  } else {
    return IDLE_STATE;
  }
}

/**
 * @brief Handles the running for running a test on the servo
 *
 * @ingroup StateHanlder
 *
 * This handler manages the test state by controlling the movement of the servos
 * towards their target setpoints and updating the system accordingly. It checks
 * whether the setpoint has been reached and moves to the next setpoint if necessary.
 * After completing the movement, it performs additional operations such as testing
 * the accelerometer and retrieving the next setpoint for the profile.
 *
 * @return The current state, which can be `IDLE_STATE` if there are more setpoints to process,
 *         or `RUN_TEST_STATE` when the profile has been fully processed or if no valid setpoints are found.
 */
system_state_t run_test_state_handler(void) {
  HAL_Delay(STEP_DELAY);
  if (next_state_e == IDLE_STATE) {
    return IDLE_STATE;
  }

  // Get setpoint pointer from index and profile arguments
  setpoint_t* setpoint = SETPOINT_ADDRESS(active_setpoint.index, active_setpoint.profile);

  // Check if requested setpoint contains data
  if (setpoint->x == FLASH_EMPTY && setpoint->y == FLASH_EMPTY && setpoint->speed == FLASH_EMPTY) {
    active_setpoint.index = 0;
    return IDLE_STATE;
  }

  active_setpoint.x = degtoccr(setpoint->x) + PULSE_WIDTH_OFFSET_X;
  active_setpoint.y = degtoccr(setpoint->y) + PULSE_WIDTH_OFFSET_Y;
  active_setpoint.speed = setpoint->speed;

  uint16_t step =  STEP_DELAY * (PULSE_WIDTH_POS_90 - PULSE_WIDTH_NEG_90) / (SPEED_MAX + 1U - active_setpoint.speed) / 1000;

  // Increment or decrement CCR_X towards active_setpoint.x
  if (CCR_X < active_setpoint.x) {
    CCR_X += step;
    if (CCR_X > active_setpoint.x) {
      CCR_X = active_setpoint.x; // Prevent overshooting
    }
  } else if (CCR_X > active_setpoint.x) {
    CCR_X -= step;
    if (CCR_X < active_setpoint.x) {
      CCR_X = active_setpoint.x; // Prevent overshooting
    }
  }

  // Increment or decrement CCR_Y towards active_setpoint.y
  if (CCR_Y < active_setpoint.y) {
    CCR_Y += step;
    if (CCR_Y > active_setpoint.y) {
      CCR_Y = active_setpoint.y; // Prevent overshooting
    }
  } else if (CCR_Y > active_setpoint.y) {
    CCR_Y -= step;
    if (CCR_Y < active_setpoint.y) {
      CCR_Y = active_setpoint.y; // Prevent overshooting
    }
  }

  if (CCR_X == active_setpoint.x && CCR_Y == active_setpoint.y) {
    get_setpoint(active_setpoint.index, active_setpoint.profile);
    active_setpoint.index++;
    HAL_Delay(PROFILE_WAIT);
    test_adxl();
  }

  if (next_state_e == RUN_TEST_STATE) {
    return RUN_TEST_STATE;
  } else {
    return IDLE_STATE;
  }
}

/** @} */ // end of State Handler group

/* USER CODE END 0 */

int main(void)
{

  /* MCU Configuration--------------------------------------------------------*/

  /* Reset of all peripherals, Initializes the Flash interface and the Systick. */
  HAL_Init();

  /* Configure the system clock */
  SystemClock_Config();

  /* Initialize all configured peripherals */
  MX_GPIO_Init();
  MX_USART2_UART_Init();
  MX_SPI3_Init();
  MX_USART1_UART_Init();
  MX_TIM2_Init();

  /* Infinite loop */
  while (1) {

    /* USER CODE BEGIN 3 */

    //* State Handlers
    // Perform functions for given state, then return the value of the next state
    switch (next_state_e) {
      case STARTUP_STATE:
        next_state_e = startup_state_handler();
        break;
      case HOME_STATE:
        next_state_e = home_state_handler();
        break;
      case IDLE_STATE:
        // Do nothing / wait for UART interrupt
        break;
      case RUN_SETPOINT_STATE:
        next_state_e = run_setpoint_state_handler();
        break;
      case RUN_PROFILE_STATE:
        next_state_e = run_profile_state_handler();
        break;
      case RUN_TEST_STATE:
        next_state_e = run_test_state_handler();
        break;
      default:
        next_state_e = startup_state_handler();
        break;
    }
  }

  /* USER CODE END 3 */
}

void SystemClock_Config(void)
{
  RCC_OscInitTypeDef RCC_OscInitStruct = {0};
  RCC_ClkInitTypeDef RCC_ClkInitStruct = {0};

  /** Configure the main internal regulator output voltage
  */
  __HAL_RCC_PWR_CLK_ENABLE();
  __HAL_PWR_VOLTAGESCALING_CONFIG(PWR_REGULATOR_VOLTAGE_SCALE1);

  /** Initializes the RCC Oscillators according to the specified parameters
  * in the RCC_OscInitTypeDef structure.
  */
  RCC_OscInitStruct.OscillatorType = RCC_OSCILLATORTYPE_HSE;
  RCC_OscInitStruct.HSEState = RCC_HSE_BYPASS;
  RCC_OscInitStruct.PLL.PLLState = RCC_PLL_ON;
  RCC_OscInitStruct.PLL.PLLSource = RCC_PLLSOURCE_HSE;
  RCC_OscInitStruct.PLL.PLLM = 4;
  RCC_OscInitStruct.PLL.PLLN = 100;
  RCC_OscInitStruct.PLL.PLLP = RCC_PLLP_DIV2;
  RCC_OscInitStruct.PLL.PLLQ = 4;
  if (HAL_RCC_OscConfig(&RCC_OscInitStruct) != HAL_OK)
  {
    Error_Handler();
  }

  /** Initializes the CPU, AHB and APB buses clocks
  */
  RCC_ClkInitStruct.ClockType = RCC_CLOCKTYPE_HCLK|RCC_CLOCKTYPE_SYSCLK
                              |RCC_CLOCKTYPE_PCLK1|RCC_CLOCKTYPE_PCLK2;
  RCC_ClkInitStruct.SYSCLKSource = RCC_SYSCLKSOURCE_PLLCLK;
  RCC_ClkInitStruct.AHBCLKDivider = RCC_SYSCLK_DIV1;
  RCC_ClkInitStruct.APB1CLKDivider = RCC_HCLK_DIV2;
  RCC_ClkInitStruct.APB2CLKDivider = RCC_HCLK_DIV1;

  if (HAL_RCC_ClockConfig(&RCC_ClkInitStruct, FLASH_LATENCY_3) != HAL_OK)
  {
    Error_Handler();
  }
}

static void MX_SPI3_Init(void)
{

  /* SPI3 parameter configuration*/
  hspi3.Instance = SPI3;
  hspi3.Init.Mode = SPI_MODE_MASTER;
  hspi3.Init.Direction = SPI_DIRECTION_2LINES;
  hspi3.Init.DataSize = SPI_DATASIZE_8BIT;
  hspi3.Init.CLKPolarity = SPI_POLARITY_HIGH;
  hspi3.Init.CLKPhase = SPI_PHASE_2EDGE;
  hspi3.Init.NSS = SPI_NSS_SOFT;
  hspi3.Init.BaudRatePrescaler = SPI_BAUDRATEPRESCALER_64;
  hspi3.Init.FirstBit = SPI_FIRSTBIT_MSB;
  hspi3.Init.TIMode = SPI_TIMODE_DISABLE;
  hspi3.Init.CRCCalculation = SPI_CRCCALCULATION_DISABLE;
  hspi3.Init.CRCPolynomial = 10;
  if (HAL_SPI_Init(&hspi3) != HAL_OK)
  {
    Error_Handler();
  }

}

static void MX_TIM2_Init(void)
{

  TIM_ClockConfigTypeDef sClockSourceConfig = {0};
  TIM_MasterConfigTypeDef sMasterConfig = {0};
  TIM_OC_InitTypeDef sConfigOC = {0};

  htim2.Instance = TIM2;
  htim2.Init.Prescaler = 100 - 1;
  htim2.Init.CounterMode = TIM_COUNTERMODE_UP;
  htim2.Init.Period = 20000 - 1;
  htim2.Init.ClockDivision = TIM_CLOCKDIVISION_DIV1;
  htim2.Init.AutoReloadPreload = TIM_AUTORELOAD_PRELOAD_ENABLE;
  if (HAL_TIM_Base_Init(&htim2) != HAL_OK)
  {
    Error_Handler();
  }
  sClockSourceConfig.ClockSource = TIM_CLOCKSOURCE_INTERNAL;
  if (HAL_TIM_ConfigClockSource(&htim2, &sClockSourceConfig) != HAL_OK)
  {
    Error_Handler();
  }
  if (HAL_TIM_PWM_Init(&htim2) != HAL_OK)
  {
    Error_Handler();
  }
  sMasterConfig.MasterOutputTrigger = TIM_TRGO_RESET;
  sMasterConfig.MasterSlaveMode = TIM_MASTERSLAVEMODE_DISABLE;
  if (HAL_TIMEx_MasterConfigSynchronization(&htim2, &sMasterConfig) != HAL_OK)
  {
    Error_Handler();
  }
  sConfigOC.OCMode = TIM_OCMODE_PWM1;
  sConfigOC.Pulse = 0;
  sConfigOC.OCPolarity = TIM_OCPOLARITY_HIGH;
  sConfigOC.OCFastMode = TIM_OCFAST_DISABLE;
  if (HAL_TIM_PWM_ConfigChannel(&htim2, &sConfigOC, TIM_CHANNEL_1) != HAL_OK)
  {
    Error_Handler();
  }
  if (HAL_TIM_PWM_ConfigChannel(&htim2, &sConfigOC, TIM_CHANNEL_2) != HAL_OK)
  {
    Error_Handler();
  }
  HAL_TIM_MspPostInit(&htim2);

}

static void MX_USART1_UART_Init(void)
{

  huart1.Instance = USART1;
  huart1.Init.BaudRate = BAUD_RATE;
  huart1.Init.WordLength = UART_WORDLENGTH_8B;
  huart1.Init.StopBits = UART_STOPBITS_1;
  huart1.Init.Parity = UART_PARITY_NONE;
  huart1.Init.Mode = UART_MODE_TX_RX;
  huart1.Init.HwFlowCtl = UART_HWCONTROL_NONE;
  huart1.Init.OverSampling = UART_OVERSAMPLING_16;
  if (HAL_UART_Init(&huart1) != HAL_OK)
  {
    Error_Handler();
  }

}

static void MX_USART2_UART_Init(void)
{

  huart2.Instance = USART2;
  huart2.Init.BaudRate = BAUD_RATE;
  huart2.Init.WordLength = UART_WORDLENGTH_8B;
  huart2.Init.StopBits = UART_STOPBITS_1;
  huart2.Init.Parity = UART_PARITY_NONE;
  huart2.Init.Mode = UART_MODE_TX_RX;
  huart2.Init.HwFlowCtl = UART_HWCONTROL_NONE;
  huart2.Init.OverSampling = UART_OVERSAMPLING_16;
  if (HAL_UART_Init(&huart2) != HAL_OK)
  {
    Error_Handler();
  }

}

static void MX_GPIO_Init(void)
{
  GPIO_InitTypeDef GPIO_InitStruct = {0};

  /* GPIO Ports Clock Enable */
  __HAL_RCC_GPIOC_CLK_ENABLE();
  __HAL_RCC_GPIOH_CLK_ENABLE();
  __HAL_RCC_GPIOA_CLK_ENABLE();
  __HAL_RCC_GPIOB_CLK_ENABLE();

  /*Configure GPIO pin Output Level */
  HAL_GPIO_WritePin(LD2_GPIO_Port, LD2_Pin, GPIO_PIN_RESET);

  /*Configure GPIO pin Output Level */
  HAL_GPIO_WritePin(ADXL_CS_GPIO_Port, ADXL_CS_Pin, GPIO_PIN_RESET);

  /*Configure GPIO pin : B1_Pin */
  GPIO_InitStruct.Pin = B1_Pin;
  GPIO_InitStruct.Mode = GPIO_MODE_IT_FALLING;
  GPIO_InitStruct.Pull = GPIO_NOPULL;
  HAL_GPIO_Init(B1_GPIO_Port, &GPIO_InitStruct);

  /*Configure GPIO pin : LD2_Pin */
  GPIO_InitStruct.Pin = LD2_Pin;
  GPIO_InitStruct.Mode = GPIO_MODE_OUTPUT_PP;
  GPIO_InitStruct.Pull = GPIO_NOPULL;
  GPIO_InitStruct.Speed = GPIO_SPEED_FREQ_LOW;
  HAL_GPIO_Init(LD2_GPIO_Port, &GPIO_InitStruct);

  /*Configure GPIO pin : ADXL_CS_Pin */
  GPIO_InitStruct.Pin = ADXL_CS_Pin;
  GPIO_InitStruct.Mode = GPIO_MODE_OUTPUT_PP;
  GPIO_InitStruct.Pull = GPIO_NOPULL;
  GPIO_InitStruct.Speed = GPIO_SPEED_FREQ_LOW;
  HAL_GPIO_Init(ADXL_CS_GPIO_Port, &GPIO_InitStruct);

}

void Error_Handler(void)
{
  __disable_irq();
  while (1)
  {
  }
}
